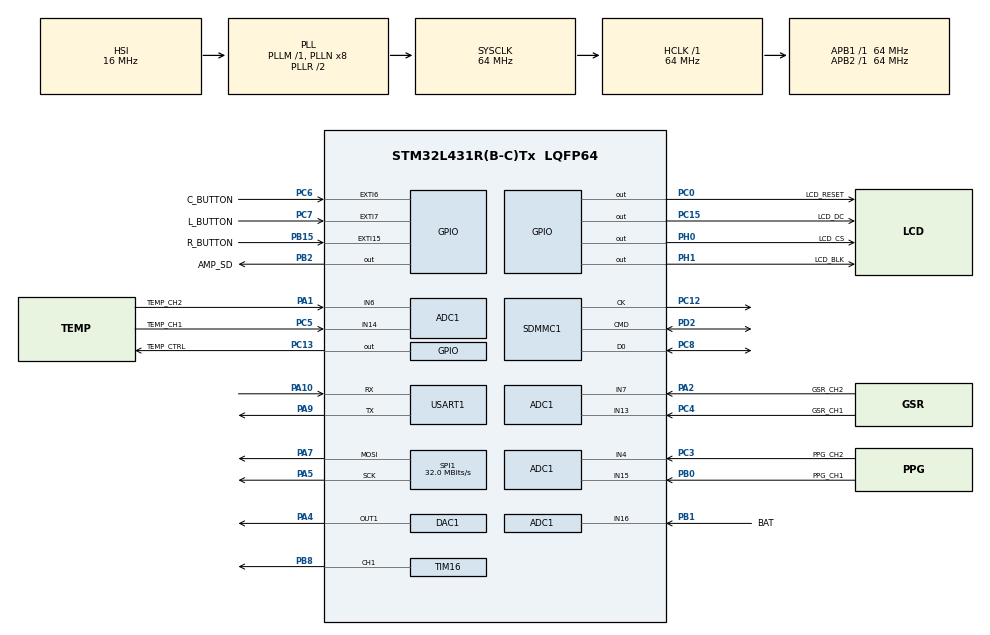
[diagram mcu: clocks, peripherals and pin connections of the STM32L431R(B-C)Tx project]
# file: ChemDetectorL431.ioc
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ADC1.Channel-0\#ChannelRegularConversion=ADC_CHANNEL_4
ADC1.Channel-1\#ChannelRegularConversion=ADC_CHANNEL_6
ADC1.Channel-2\#ChannelRegularConversion=ADC_CHANNEL_7
ADC1.Channel-3\#ChannelRegularConversion=ADC_CHANNEL_13
ADC1.Channel-4\#ChannelRegularConversion=ADC_CHANNEL_14
ADC1.Channel-5\#ChannelRegularConversion=ADC_CHANNEL_15
ADC1.Channel-6\#ChannelRegularConversion=ADC_CHANNEL_16
ADC1.ContinuousConvMode=DISABLE
ADC1.DMAContinuousRequests=ENABLE
ADC1.ExternalTrigConv=ADC_EXTERNALTRIG_T2_TRGO
ADC1.NbrOfConversion=7
ADC1.NbrOfConversionFlag=1
ADC1.OffsetNumber-0\#ChannelRegularConversion=ADC_OFFSET_NONE
ADC1.OffsetNumber-1\#ChannelRegularConversion=ADC_OFFSET_NONE
ADC1.OffsetNumber-2\#ChannelRegularConversion=ADC_OFFSET_NONE
ADC1.OffsetNumber-3\#ChannelRegularConversion=ADC_OFFSET_NONE
ADC1.OffsetNumber-4\#ChannelRegularConversion=ADC_OFFSET_NONE
ADC1.OffsetNumber-5\#ChannelRegularConversion=ADC_OFFSET_NONE
ADC1.OffsetNumber-6\#ChannelRegularConversion=ADC_OFFSET_NONE
ADC1.Overrun=ADC_OVR_DATA_OVERWRITTEN
ADC1.Rank-0\#ChannelRegularConversion=1
ADC1.Rank-1\#ChannelRegularConversion=2
ADC1.Rank-2\#ChannelRegularConversion=3
ADC1.Rank-3\#ChannelRegularConversion=4
ADC1.Rank-4\#ChannelRegularConversion=5
ADC1.Rank-5\#ChannelRegularConversion=6
ADC1.Rank-6\#ChannelRegularConversion=7
ADC1.SamplingTime-0\#ChannelRegularConversion=ADC_SAMPLETIME_2CYCLES_5
ADC1.SamplingTime-1\#ChannelRegularConversion=ADC_SAMPLETIME_2CYCLES_5
ADC1.SamplingTime-2\#ChannelRegularConversion=ADC_SAMPLETIME_2CYCLES_5
ADC1.SamplingTime-3\#ChannelRegularConversion=ADC_SAMPLETIME_2CYCLES_5
ADC1.SamplingTime-4\#ChannelRegularConversion=ADC_SAMPLETIME_2CYCLES_5
ADC1.SamplingTime-5\#ChannelRegularConversion=ADC_SAMPLETIME_2CYCLES_5
ADC1.SamplingTime-6\#ChannelRegularConversion=ADC_SAMPLETIME_2CYCLES_5
ADC1.master=1
Dma.ADC1.0.Direction=DMA_PERIPH_TO_MEMORY
Dma.ADC1.0.Instance=DMA1_Channel1
Dma.ADC1.0.MemDataAlignment=DMA_MDATAALIGN_HALFWORD
Dma.ADC1.0.MemInc=DMA_MINC_ENABLE
Dma.ADC1.0.Mode=DMA_CIRCULAR
Dma.ADC1.0.PeriphDataAlignment=DMA_PDATAALIGN_HALFWORD
Dma.ADC1.0.PeriphInc=DMA_PINC_DISABLE
Dma.ADC1.0.Priority=DMA_PRIORITY_LOW
Dma.Request0=ADC1
FATFS._USE_LFN=1
Mcu.Family=STM32L4
Mcu.Name=STM32L431R(B-C)Tx
Mcu.Package=LQFP64
NVIC.ADC1_IRQn=true\:0\:0\:false\:false\:true\:true\:true\:true
NVIC.DMA1_Channel1_IRQn=true\:0\:0\:false\:false\:true\:false\:true\:true
NVIC.EXTI15_10_IRQn=true\:0\:0\:false\:false\:true\:true\:true\:true
NVIC.EXTI9_5_IRQn=true\:0\:0\:false\:false\:true\:true\:true\:true
NVIC.PriorityGroup=NVIC_PRIORITYGROUP_4
PA1.GPIO_Label=TEMP_CH2
PA1.Signal=ADCx_IN6
PA10.Mode=Asynchronous
PA10.Signal=USART1_RX
PA13\ (JTMS-SWDIO).Mode=Trace_Asynchronous_SW
PA13\ (JTMS-SWDIO).Signal=SYS_JTMS-SWDIO
PA14\ (JTCK-SWCLK).Mode=Trace_Asynchronous_SW
PA14\ (JTCK-SWCLK).Signal=SYS_JTCK-SWCLK
PA2.GPIO_Label=GSR_CH2
PA2.Signal=ADCx_IN7
PA4.Signal=COMP_DAC11_group
PA5.Mode=TX_Only_Simplex_Unidirect_Master
PA5.Signal=SPI1_SCK
PA6.Signal=SPI1_MISO
PA7.Mode=TX_Only_Simplex_Unidirect_Master
PA7.Signal=SPI1_MOSI
PA9.Mode=Asynchronous
PA9.Signal=USART1_TX
PB0.GPIO_Label=PPG_CH1
PB0.Signal=ADCx_IN15
PB1.GPIO_Label=BAT
PB1.Signal=ADCx_IN16
PB15.GPIO_Label=R_BUTTON
PB15.GPIO_ModeDefaultEXTI=GPIO_MODE_IT_FALLING
PB15.Signal=GPXTI15
PB2.GPIO_Label=AMP_SD
PB2.Signal=GPIO_Output
PB3\ (JTDO-TRACESWO).Mode=Trace_Asynchronous_SW
PB3\ (JTDO-TRACESWO).Signal=SYS_JTDO-SWO
PB8.Signal=S_TIM16_CH1
PC0.GPIO_Label=LCD_RESET
PC0.Signal=GPIO_Output
PC12.Mode=SD_1_bit
PC12.Signal=SDMMC1_CK
PC13.GPIO_Label=TEMP_CTRL
PC13.Signal=GPIO_Output
PC14-OSC32_IN\ (PC14).Signal=RCC_OSC32_IN
PC15-OSC32_OUT\ (PC15).GPIO_Label=LCD_DC
PC15-OSC32_OUT\ (PC15).Signal=GPIO_Output
PC3.GPIO_Label=PPG_CH2
PC3.Signal=ADCx_IN4
PC4.GPIO_Label=GSR_CH1
PC4.Signal=ADCx_IN13
PC5.GPIO_Label=TEMP_CH1
PC5.Signal=ADCx_IN14
PC6.GPIO_Label=C_BUTTON
PC6.GPIO_ModeDefaultEXTI=GPIO_MODE_IT_FALLING
PC6.Signal=GPXTI6
PC7.GPIO_Label=L_BUTTON
PC7.GPIO_ModeDefaultEXTI=GPIO_MODE_IT_FALLING
PC7.Signal=GPXTI7
PC8.Mode=SD_1_bit
PC8.Signal=SDMMC1_D0
PD2.Mode=SD_1_bit
PD2.Signal=SDMMC1_CMD
PH0-OSC_IN\ (PH0).GPIO_Label=LCD_CS
PH0-OSC_IN\ (PH0).Signal=GPIO_Output
PH1-OSC_OUT\ (PH1).GPIO_Label=LCD_BLK
PH1-OSC_OUT\ (PH1).Signal=GPIO_Output
ProjectManager.HeapSize=0x200
ProjectManager.StackSize=0x400
ProjectManager.TargetToolchain=STM32CubeIDE
RCC.ADCFreq_Value=64000000
RCC.AHBFreq_Value=64000000
RCC.APB1Freq_Value=64000000
RCC.APB1TimFreq_Value=64000000
RCC.APB2Freq_Value=64000000
RCC.APB2TimFreq_Value=64000000
RCC.CK48CLockSelection=RCC_USBCLKSOURCE_PLL
RCC.CortexFreq_Value=64000000
RCC.HCLKFreq_Value=64000000
RCC.HSE_VALUE=8000000
RCC.HSI48_VALUE=48000000
RCC.HSI_VALUE=16000000
RCC.LSE_VALUE=32768
RCC.MSI_VALUE=4000000
RCC.PLLQ=RCC_PLLQ_DIV8
RCC.PLLSourceVirtual=RCC_PLLSOURCE_HSI
RCC.SYSCLKFreq_VALUE=64000000
RCC.SYSCLKSource=RCC_SYSCLKSOURCE_PLLCLK
RCC.VCOOutputFreq_Value=128000000
SDMMC1.ClockBypass=SDMMC_CLOCK_BYPASS_DISABLE
SDMMC1.ClockDiv=2
SDMMC1.ClockPowerSave=SDMMC_CLOCK_POWER_SAVE_ENABLE
SH.ADCx_IN13.0=ADC1_IN13,IN13-Single-Ended
SH.ADCx_IN14.0=ADC1_IN14,IN14-Single-Ended
SH.ADCx_IN15.0=ADC1_IN15,IN15-Single-Ended
SH.ADCx_IN16.0=ADC1_IN16,IN16-Single-Ended
SH.ADCx_IN4.0=ADC1_IN4,IN4-Single-Ended
SH.ADCx_IN6.0=ADC1_IN6,IN6-Single-Ended
SH.ADCx_IN7.0=ADC1_IN7,IN7-Single-Ended
SH.COMP_DAC11_group.0=DAC1_OUT1,DAC_OUT1
SH.S_TIM16_CH1.0=TIM16_CH1,PWM Generation1 CH1
SPI1.CalculateBaudRate=32.0 MBits/s
SPI1.Direction=SPI_DIRECTION_2LINES
SPI1.Mode=SPI_MODE_MASTER
SPI1.VirtualType=VM_MASTER
TIM16.Channel=TIM_CHANNEL_1
TIM16.Period=999
TIM16.Prescaler=63
TIM16.Pulse=500
TIM2.Period=399
TIM2.Prescaler=399
TIM2.TIM_MasterOutputTrigger=TIM_TRGO_UPDATE
USART1.VirtualMode-Asynchronous=VM_ASYNC
VP_FATFS_VS_SDIO.Mode=SDIO
VP_TIM16_VS_ClockSourceINT.Mode=Enable_Timer
VP_TIM2_VS_ClockSourceINT.Mode=Internal
board=custom

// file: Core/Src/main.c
/* USER CODE BEGIN Header */
/**
  ******************************************************************************
  * @file           : main.c
  * @brief          : Main program body
  ******************************************************************************
  * @attention
  *
  * Copyright (c) 2026 STMicroelectronics.
  * All rights reserved.
  *
  * This software is licensed under terms that can be found in the LICENSE file
  * in the root directory of this software component.
  * If no LICENSE file comes with this software, it is provided AS-IS.
  *
  ******************************************************************************
  */
/* USER CODE END Header */
#include "main.h"
#include "fatfs.h"

/* USER CODE BEGIN Includes */

#include "gc9a01a.h"
#include "U8g2_for_Adafruit_GFX.h"
#include <stdio.h>
#include <string.h>
#include "app_states.h"
#include "flash_layout.h"

/* USER CODE END Includes */

ADC_HandleTypeDef hadc1;
DMA_HandleTypeDef hdma_adc1;

DAC_HandleTypeDef hdac1;

SD_HandleTypeDef hsd1;

SPI_HandleTypeDef hspi1;

TIM_HandleTypeDef htim2;
TIM_HandleTypeDef htim16;

UART_HandleTypeDef huart1;

void SystemClock_Config(void);
static void MX_GPIO_Init(void);
static void MX_DMA_Init(void);
static void MX_DAC1_Init(void);
static void MX_SDMMC1_SD_Init(void);
static void MX_TIM16_Init(void);
static void MX_SPI1_Init(void);
static void MX_USART1_UART_Init(void);
static void MX_ADC1_Init(void);
static void MX_TIM2_Init(void);

/* USER CODE BEGIN 0 */

int _write(int file, char *ptr, int len) {
	if ((CoreDebug->DHCSR & CoreDebug_DHCSR_C_DEBUGEN_Msk) != 0) {
		for (int i = 0; i < len; i++) {
			ITM_SendChar((*ptr++));
		}

	}

	return len;
}

/* USER CODE END 0 */

int main(void)
{

  /* MCU Configuration--------------------------------------------------------*/

  /* Reset of all peripherals, Initializes the Flash interface and the Systick. */
  HAL_Init();

  /* USER CODE BEGIN Init */

  SCB->VTOR = APP_START_ADDR;
  __enable_irq();

  /* USER CODE END Init */

  /* Configure the system clock */
  SystemClock_Config();

  /* USER CODE BEGIN SysInit */

  SCB->VTOR = APP_START_ADDR;

  /* USER CODE END SysInit */

  /* Initialize all configured peripherals */
  MX_GPIO_Init();
  MX_DMA_Init();
  MX_DAC1_Init();
  MX_SDMMC1_SD_Init();
  MX_FATFS_Init();
  MX_TIM16_Init();
  MX_SPI1_Init();
  MX_USART1_UART_Init();
  MX_ADC1_Init();
  MX_TIM2_Init();
  /* USER CODE BEGIN 2 */

  app_states_init();

  /* USER CODE END 2 */

  /* Infinite loop */
  /* USER CODE BEGIN WHILE */
  while (1)
  {

//	  printf("Main loop\r\n");

	  app_states_run();

    /* USER CODE END WHILE */

  }
}

void SystemClock_Config(void)
{
  RCC_OscInitTypeDef RCC_OscInitStruct = {0};
  RCC_ClkInitTypeDef RCC_ClkInitStruct = {0};

  /** Configure the main internal regulator output voltage
  */
  if (HAL_PWREx_ControlVoltageScaling(PWR_REGULATOR_VOLTAGE_SCALE1) != HAL_OK)
  {
    Error_Handler();
  }

  /** Initializes the RCC Oscillators according to the specified parameters
  * in the RCC_OscInitTypeDef structure.
  */
  RCC_OscInitStruct.OscillatorType = RCC_OSCILLATORTYPE_HSI;
  RCC_OscInitStruct.HSIState = RCC_HSI_ON;
  RCC_OscInitStruct.HSICalibrationValue = RCC_HSICALIBRATION_DEFAULT;
  RCC_OscInitStruct.PLL.PLLState = RCC_PLL_ON;
  RCC_OscInitStruct.PLL.PLLSource = RCC_PLLSOURCE_HSI;
  RCC_OscInitStruct.PLL.PLLM = 1;
  RCC_OscInitStruct.PLL.PLLN = 8;
  RCC_OscInitStruct.PLL.PLLP = RCC_PLLP_DIV7;
  RCC_OscInitStruct.PLL.PLLQ = RCC_PLLQ_DIV8;
  RCC_OscInitStruct.PLL.PLLR = RCC_PLLR_DIV2;
  if (HAL_RCC_OscConfig(&RCC_OscInitStruct) != HAL_OK)
  {
    Error_Handler();
  }

  /** Initializes the CPU, AHB and APB buses clocks
  */
  RCC_ClkInitStruct.ClockType = RCC_CLOCKTYPE_HCLK|RCC_CLOCKTYPE_SYSCLK
                              |RCC_CLOCKTYPE_PCLK1|RCC_CLOCKTYPE_PCLK2;
  RCC_ClkInitStruct.SYSCLKSource = RCC_SYSCLKSOURCE_PLLCLK;
  RCC_ClkInitStruct.AHBCLKDivider = RCC_SYSCLK_DIV1;
  RCC_ClkInitStruct.APB1CLKDivider = RCC_HCLK_DIV1;
  RCC_ClkInitStruct.APB2CLKDivider = RCC_HCLK_DIV1;

  if (HAL_RCC_ClockConfig(&RCC_ClkInitStruct, FLASH_LATENCY_3) != HAL_OK)
  {
    Error_Handler();
  }
}

static void MX_ADC1_Init(void)
{

  ADC_ChannelConfTypeDef sConfig = {0};

  /** Common config
  */
  hadc1.Instance = ADC1;
  hadc1.Init.ClockPrescaler = ADC_CLOCK_ASYNC_DIV1;
  hadc1.Init.Resolution = ADC_RESOLUTION_12B;
  hadc1.Init.DataAlign = ADC_DATAALIGN_RIGHT;
  hadc1.Init.ScanConvMode = ADC_SCAN_ENABLE;
  hadc1.Init.EOCSelection = ADC_EOC_SINGLE_CONV;
  hadc1.Init.LowPowerAutoWait = DISABLE;
  hadc1.Init.ContinuousConvMode = DISABLE;
  hadc1.Init.NbrOfConversion = 7;
  hadc1.Init.DiscontinuousConvMode = DISABLE;
  hadc1.Init.ExternalTrigConv = ADC_EXTERNALTRIG_T2_TRGO;
  hadc1.Init.ExternalTrigConvEdge = ADC_EXTERNALTRIGCONVEDGE_RISING;
  hadc1.Init.DMAContinuousRequests = ENABLE;
  hadc1.Init.Overrun = ADC_OVR_DATA_OVERWRITTEN;
  hadc1.Init.OversamplingMode = DISABLE;
  if (HAL_ADC_Init(&hadc1) != HAL_OK)
  {
    Error_Handler();
  }

  /** Configure Regular Channel
  */
  sConfig.Channel = ADC_CHANNEL_4;
  sConfig.Rank = ADC_REGULAR_RANK_1;
  sConfig.SamplingTime = ADC_SAMPLETIME_2CYCLES_5;
  sConfig.SingleDiff = ADC_SINGLE_ENDED;
  sConfig.OffsetNumber = ADC_OFFSET_NONE;
  sConfig.Offset = 0;
  if (HAL_ADC_ConfigChannel(&hadc1, &sConfig) != HAL_OK)
  {
    Error_Handler();
  }

  /** Configure Regular Channel
  */
  sConfig.Channel = ADC_CHANNEL_6;
  sConfig.Rank = ADC_REGULAR_RANK_2;
  if (HAL_ADC_ConfigChannel(&hadc1, &sConfig) != HAL_OK)
  {
    Error_Handler();
  }

  /** Configure Regular Channel
  */
  sConfig.Channel = ADC_CHANNEL_7;
  sConfig.Rank = ADC_REGULAR_RANK_3;
  if (HAL_ADC_ConfigChannel(&hadc1, &sConfig) != HAL_OK)
  {
    Error_Handler();
  }

  /** Configure Regular Channel
  */
  sConfig.Channel = ADC_CHANNEL_13;
  sConfig.Rank = ADC_REGULAR_RANK_4;
  if (HAL_ADC_ConfigChannel(&hadc1, &sConfig) != HAL_OK)
  {
    Error_Handler();
  }

  /** Configure Regular Channel
  */
  sConfig.Channel = ADC_CHANNEL_14;
  sConfig.Rank = ADC_REGULAR_RANK_5;
  if (HAL_ADC_ConfigChannel(&hadc1, &sConfig) != HAL_OK)
  {
    Error_Handler();
  }

  /** Configure Regular Channel
  */
  sConfig.Channel = ADC_CHANNEL_15;
  sConfig.Rank = ADC_REGULAR_RANK_6;
  if (HAL_ADC_ConfigChannel(&hadc1, &sConfig) != HAL_OK)
  {
    Error_Handler();
  }

  /** Configure Regular Channel
  */
  sConfig.Channel = ADC_CHANNEL_16;
  sConfig.Rank = ADC_REGULAR_RANK_7;
  if (HAL_ADC_ConfigChannel(&hadc1, &sConfig) != HAL_OK)
  {
    Error_Handler();
  }

}

static void MX_DAC1_Init(void)
{

  DAC_ChannelConfTypeDef sConfig = {0};

  /** DAC Initialization
  */
  hdac1.Instance = DAC1;
  if (HAL_DAC_Init(&hdac1) != HAL_OK)
  {
    Error_Handler();
  }

  /** DAC channel OUT1 config
  */
  sConfig.DAC_SampleAndHold = DAC_SAMPLEANDHOLD_DISABLE;
  sConfig.DAC_Trigger = DAC_TRIGGER_NONE;
  sConfig.DAC_OutputBuffer = DAC_OUTPUTBUFFER_ENABLE;
  sConfig.DAC_ConnectOnChipPeripheral = DAC_CHIPCONNECT_DISABLE;
  sConfig.DAC_UserTrimming = DAC_TRIMMING_FACTORY;
  if (HAL_DAC_ConfigChannel(&hdac1, &sConfig, DAC_CHANNEL_1) != HAL_OK)
  {
    Error_Handler();
  }

}

static void MX_SDMMC1_SD_Init(void)
{

  /* USER CODE BEGIN SDMMC1_Init 0 */

	//THIS CODE DOESN'T MATTER ANYMORE!!!! LOOK AT CODE IN sd_util.c

  /* USER CODE END SDMMC1_Init 0 */

  hsd1.Instance = SDMMC1;
  hsd1.Init.ClockEdge = SDMMC_CLOCK_EDGE_RISING;
  hsd1.Init.ClockBypass = SDMMC_CLOCK_BYPASS_DISABLE;
  hsd1.Init.ClockPowerSave = SDMMC_CLOCK_POWER_SAVE_ENABLE;
  hsd1.Init.BusWide = SDMMC_BUS_WIDE_1B;
  hsd1.Init.HardwareFlowControl = SDMMC_HARDWARE_FLOW_CONTROL_DISABLE;
  hsd1.Init.ClockDiv = 2;
  /* USER CODE BEGIN SDMMC1_Init 2 */

  if (HAL_SD_Init(&hsd1) != HAL_OK) {
      printf("SDIO init failed.\r\n");
  } else {
	  printf("Successfully initialized SDIO\r\n");
  }

  /* USER CODE END SDMMC1_Init 2 */

}

static void MX_SPI1_Init(void)
{

  /* SPI1 parameter configuration*/
  hspi1.Instance = SPI1;
  hspi1.Init.Mode = SPI_MODE_MASTER;
  hspi1.Init.Direction = SPI_DIRECTION_2LINES;
  hspi1.Init.DataSize = SPI_DATASIZE_4BIT;
  hspi1.Init.CLKPolarity = SPI_POLARITY_LOW;
  hspi1.Init.CLKPhase = SPI_PHASE_1EDGE;
  hspi1.Init.NSS = SPI_NSS_SOFT;
  hspi1.Init.BaudRatePrescaler = SPI_BAUDRATEPRESCALER_2;
  hspi1.Init.FirstBit = SPI_FIRSTBIT_MSB;
  hspi1.Init.TIMode = SPI_TIMODE_DISABLE;
  hspi1.Init.CRCCalculation = SPI_CRCCALCULATION_DISABLE;
  hspi1.Init.CRCPolynomial = 7;
  hspi1.Init.CRCLength = SPI_CRC_LENGTH_DATASIZE;
  hspi1.Init.NSSPMode = SPI_NSS_PULSE_ENABLE;
  if (HAL_SPI_Init(&hspi1) != HAL_OK)
  {
    Error_Handler();
  }

}

static void MX_TIM2_Init(void)
{

  TIM_ClockConfigTypeDef sClockSourceConfig = {0};
  TIM_MasterConfigTypeDef sMasterConfig = {0};

  htim2.Instance = TIM2;
  htim2.Init.Prescaler = 399;
  htim2.Init.CounterMode = TIM_COUNTERMODE_UP;
  htim2.Init.Period = 399;
  htim2.Init.ClockDivision = TIM_CLOCKDIVISION_DIV1;
  htim2.Init.AutoReloadPreload = TIM_AUTORELOAD_PRELOAD_DISABLE;
  if (HAL_TIM_Base_Init(&htim2) != HAL_OK)
  {
    Error_Handler();
  }
  sClockSourceConfig.ClockSource = TIM_CLOCKSOURCE_INTERNAL;
  if (HAL_TIM_ConfigClockSource(&htim2, &sClockSourceConfig) != HAL_OK)
  {
    Error_Handler();
  }
  sMasterConfig.MasterOutputTrigger = TIM_TRGO_UPDATE;
  sMasterConfig.MasterSlaveMode = TIM_MASTERSLAVEMODE_DISABLE;
  if (HAL_TIMEx_MasterConfigSynchronization(&htim2, &sMasterConfig) != HAL_OK)
  {
    Error_Handler();
  }

}

static void MX_TIM16_Init(void)
{

  TIM_OC_InitTypeDef sConfigOC = {0};
  TIM_BreakDeadTimeConfigTypeDef sBreakDeadTimeConfig = {0};

  htim16.Instance = TIM16;
  htim16.Init.Prescaler = 63;
  htim16.Init.CounterMode = TIM_COUNTERMODE_UP;
  htim16.Init.Period = 999;
  htim16.Init.ClockDivision = TIM_CLOCKDIVISION_DIV1;
  htim16.Init.RepetitionCounter = 0;
  htim16.Init.AutoReloadPreload = TIM_AUTORELOAD_PRELOAD_DISABLE;
  if (HAL_TIM_Base_Init(&htim16) != HAL_OK)
  {
    Error_Handler();
  }
  if (HAL_TIM_PWM_Init(&htim16) != HAL_OK)
  {
    Error_Handler();
  }
  sConfigOC.OCMode = TIM_OCMODE_PWM1;
  sConfigOC.Pulse = 500;
  sConfigOC.OCPolarity = TIM_OCPOLARITY_HIGH;
  sConfigOC.OCNPolarity = TIM_OCNPOLARITY_HIGH;
  sConfigOC.OCFastMode = TIM_OCFAST_DISABLE;
  sConfigOC.OCIdleState = TIM_OCIDLESTATE_RESET;
  sConfigOC.OCNIdleState = TIM_OCNIDLESTATE_RESET;
  if (HAL_TIM_PWM_ConfigChannel(&htim16, &sConfigOC, TIM_CHANNEL_1) != HAL_OK)
  {
    Error_Handler();
  }
  sBreakDeadTimeConfig.OffStateRunMode = TIM_OSSR_DISABLE;
  sBreakDeadTimeConfig.OffStateIDLEMode = TIM_OSSI_DISABLE;
  sBreakDeadTimeConfig.LockLevel = TIM_LOCKLEVEL_OFF;
  sBreakDeadTimeConfig.DeadTime = 0;
  sBreakDeadTimeConfig.BreakState = TIM_BREAK_DISABLE;
  sBreakDeadTimeConfig.BreakPolarity = TIM_BREAKPOLARITY_HIGH;
  sBreakDeadTimeConfig.AutomaticOutput = TIM_AUTOMATICOUTPUT_DISABLE;
  if (HAL_TIMEx_ConfigBreakDeadTime(&htim16, &sBreakDeadTimeConfig) != HAL_OK)
  {
    Error_Handler();
  }
  HAL_TIM_MspPostInit(&htim16);

}

static void MX_USART1_UART_Init(void)
{

  huart1.Instance = USART1;
  huart1.Init.BaudRate = 115200;
  huart1.Init.WordLength = UART_WORDLENGTH_8B;
  huart1.Init.StopBits = UART_STOPBITS_1;
  huart1.Init.Parity = UART_PARITY_NONE;
  huart1.Init.Mode = UART_MODE_TX_RX;
  huart1.Init.HwFlowCtl = UART_HWCONTROL_NONE;
  huart1.Init.OverSampling = UART_OVERSAMPLING_16;
  huart1.Init.OneBitSampling = UART_ONE_BIT_SAMPLE_DISABLE;
  huart1.AdvancedInit.AdvFeatureInit = UART_ADVFEATURE_NO_INIT;
  if (HAL_UART_Init(&huart1) != HAL_OK)
  {
    Error_Handler();
  }

}

static void MX_DMA_Init(void)
{

  /* DMA controller clock enable */
  __HAL_RCC_DMA1_CLK_ENABLE();

  /* DMA interrupt init */
  /* DMA1_Channel1_IRQn interrupt configuration */
  HAL_NVIC_SetPriority(DMA1_Channel1_IRQn, 0, 0);
  HAL_NVIC_EnableIRQ(DMA1_Channel1_IRQn);

}

static void MX_GPIO_Init(void)
{
  GPIO_InitTypeDef GPIO_InitStruct = {0};

  /* GPIO Ports Clock Enable */
  __HAL_RCC_GPIOC_CLK_ENABLE();
  __HAL_RCC_GPIOH_CLK_ENABLE();
  __HAL_RCC_GPIOA_CLK_ENABLE();
  __HAL_RCC_GPIOB_CLK_ENABLE();
  __HAL_RCC_GPIOD_CLK_ENABLE();

  /*Configure GPIO pin Output Level */
  HAL_GPIO_WritePin(GPIOC, TEMP_CTRL_Pin|LCD_DC_Pin|LCD_RESET_Pin, GPIO_PIN_RESET);

  /*Configure GPIO pin Output Level */
  HAL_GPIO_WritePin(GPIOH, LCD_CS_Pin|LCD_BLK_Pin, GPIO_PIN_RESET);

  /*Configure GPIO pin Output Level */
  HAL_GPIO_WritePin(AMP_SD_GPIO_Port, AMP_SD_Pin, GPIO_PIN_RESET);

  /*Configure GPIO pins : TEMP_CTRL_Pin LCD_DC_Pin LCD_RESET_Pin */
  GPIO_InitStruct.Pin = TEMP_CTRL_Pin|LCD_DC_Pin|LCD_RESET_Pin;
  GPIO_InitStruct.Mode = GPIO_MODE_OUTPUT_PP;
  GPIO_InitStruct.Pull = GPIO_NOPULL;
  GPIO_InitStruct.Speed = GPIO_SPEED_FREQ_LOW;
  HAL_GPIO_Init(GPIOC, &GPIO_InitStruct);

  /*Configure GPIO pins : LCD_CS_Pin LCD_BLK_Pin */
  GPIO_InitStruct.Pin = LCD_CS_Pin|LCD_BLK_Pin;
  GPIO_InitStruct.Mode = GPIO_MODE_OUTPUT_PP;
  GPIO_InitStruct.Pull = GPIO_NOPULL;
  GPIO_InitStruct.Speed = GPIO_SPEED_FREQ_LOW;
  HAL_GPIO_Init(GPIOH, &GPIO_InitStruct);

  /*Configure GPIO pin : AMP_SD_Pin */
  GPIO_InitStruct.Pin = AMP_SD_Pin;
  GPIO_InitStruct.Mode = GPIO_MODE_OUTPUT_PP;
  GPIO_InitStruct.Pull = GPIO_NOPULL;
  GPIO_InitStruct.Speed = GPIO_SPEED_FREQ_LOW;
  HAL_GPIO_Init(AMP_SD_GPIO_Port, &GPIO_InitStruct);

  /*Configure GPIO pin : R_BUTTON_Pin */
  GPIO_InitStruct.Pin = R_BUTTON_Pin;
  GPIO_InitStruct.Mode = GPIO_MODE_IT_FALLING;
  GPIO_InitStruct.Pull = GPIO_NOPULL;
  HAL_GPIO_Init(R_BUTTON_GPIO_Port, &GPIO_InitStruct);

  /*Configure GPIO pins : C_BUTTON_Pin L_BUTTON_Pin */
  GPIO_InitStruct.Pin = C_BUTTON_Pin|L_BUTTON_Pin;
  GPIO_InitStruct.Mode = GPIO_MODE_IT_FALLING;
  GPIO_InitStruct.Pull = GPIO_NOPULL;
  HAL_GPIO_Init(GPIOC, &GPIO_InitStruct);

  /* EXTI interrupt init*/
  HAL_NVIC_SetPriority(EXTI9_5_IRQn, 0, 0);
  HAL_NVIC_EnableIRQ(EXTI9_5_IRQn);

  HAL_NVIC_SetPriority(EXTI15_10_IRQn, 0, 0);
  HAL_NVIC_EnableIRQ(EXTI15_10_IRQn);

}

void Error_Handler(void)
{
  /* USER CODE BEGIN Error_Handler_Debug */

	return; //don't block upon uSD failure to mount!!
  /* User can add his own implementation to report the HAL error return state */
  __disable_irq();
  while (1)
  {
  }
  /* USER CODE END Error_Handler_Debug */
}
